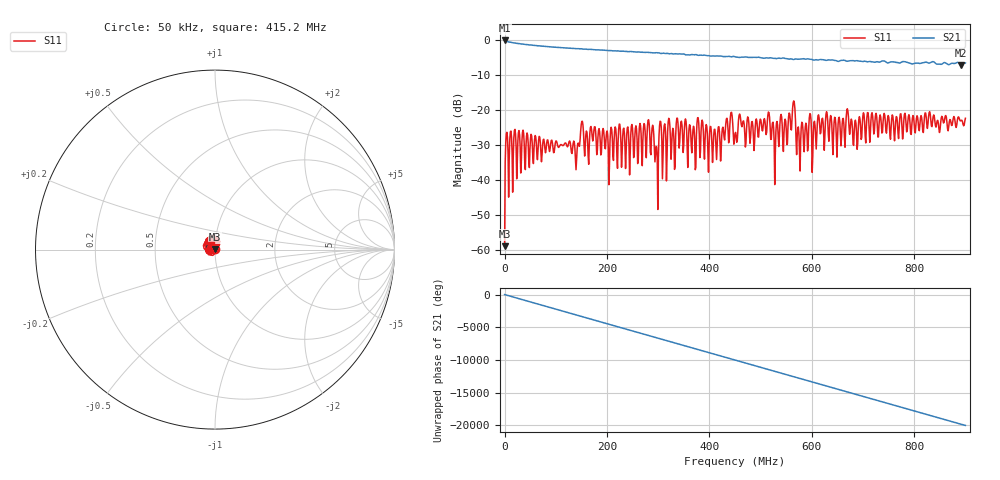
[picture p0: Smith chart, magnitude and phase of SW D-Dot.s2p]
! NanoVNA-App
! Date: 2026-10-30 14:00:03
! Start: 50kHz Stop: 900MHz Points: 801
! S-Parameter data: F S11 S21 S12 S22
# Hz S RI R 50
!  Frequency  S11_Real  S11_Imag  S21_Real  S21_Imag  S12_Real  S12_Imag  S22_Real  S22_Imag
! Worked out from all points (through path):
!   801 points, 50 kHz to 900 MHz, reference 50 ohm
!   highest |S21| = -0.05 dB at 50 kHz (marker M1); lowest = -7.1 dB at 892.1 MHz (marker M2)
!   group delay of S21, straight-line fit = 61.8 ns
!   lowest |S11| = -59.0 dB at 50 kHz (marker M3), VSWR 1.00, Z = 50 + j0.108 ohm
!   |S11| at or under -10 dB: start of sweep to end of sweep
!   S12 and S22 are empty: the file has one direction only
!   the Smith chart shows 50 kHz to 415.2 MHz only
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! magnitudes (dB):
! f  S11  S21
! 50 kHz  -59.0  0.0
! 7.925 MHz  -45.0  -0.5
! 141.8 MHz  -31.1  -2.4
! 150.8 MHz  -23.3  -2.4
! 208.2 MHz  -24.9  -3.0
! 277.9 MHz  -28.3  -3.4
! 295.9 MHz  -30.4  -3.6
! 300.4 MHz  -33.7  -3.6
! 340.9 MHz  -30.9  -3.9
! 369 MHz  -24.7  -4.2
! 439.9 MHz  -24.5  -4.6
! 450 MHz  -26.8  -4.7
! 461.3 MHz  -22.8  -4.9
! 483.8 MHz  -23.3  -4.9
! 513 MHz  -23.6  -5.1
! 531 MHz  -23.7  -5.2
! 562.5 MHz  -19.5  -5.5
! 573.8 MHz  -24.9  -5.4
! 600.8 MHz  -37.9  -5.5
! 750.4 MHz  -22.1  -6.4
! 892.1 MHz  -22.9  -7.1
! 900 MHz  -22.4  -6.5
